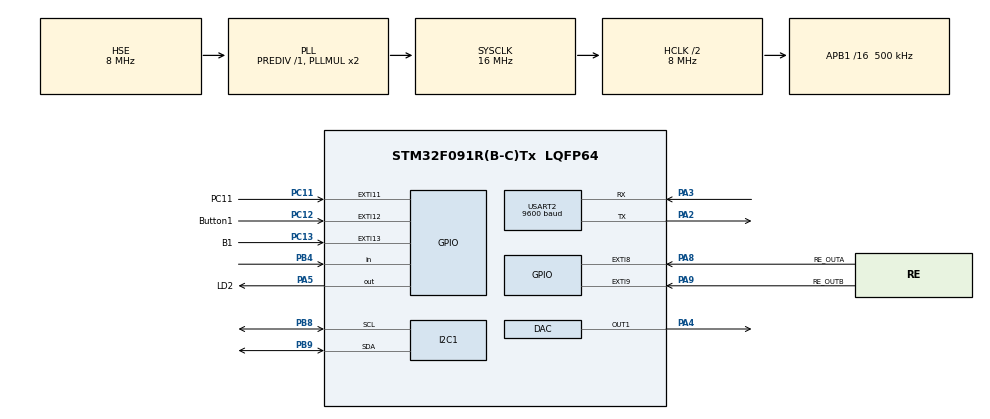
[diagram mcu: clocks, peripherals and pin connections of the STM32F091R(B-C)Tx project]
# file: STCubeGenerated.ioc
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Mcu.Family=STM32F0
Mcu.Name=STM32F091R(B-C)Tx
Mcu.Package=LQFP64
NVIC.EXTI4_15_IRQn=true\:0\:0\:false\:false\:true\:true\:true
NVIC.RCC_CRS_IRQn=true\:0\:0\:false\:false\:true\:true\:false
NVIC.TIM16_IRQn=true\:0\:0\:false\:false\:true\:true\:true
NVIC.USART2_IRQn=true\:0\:0\:false\:false\:true\:true\:true
PA2.Mode=Asynchronous
PA2.Signal=USART2_TX
PA3.Mode=Asynchronous
PA3.Signal=USART2_RX
PA4.Signal=COMP_DAC1_group
PA5.GPIO_Label=LD2
PA5.Signal=GPIO_Output
PA8.GPIO_Label=RE_OUTA
PA8.Signal=GPXTI8
PA9.GPIO_Label=RE_OUTB
PA9.Signal=GPXTI9
PB4.Signal=GPIO_Input
PB8.Mode=I2C
PB8.Signal=I2C1_SCL
PB9.Mode=I2C
PB9.Signal=I2C1_SDA
PC11.GPIO_Label=PC11
PC11.Signal=GPXTI11
PC12.GPIO_Label=Button1
PC12.GPIO_PuPd=GPIO_PULLUP
PC12.Signal=GPXTI12
PC13.GPIO_Label=B1
PC13.Signal=GPXTI13
PF0-OSC_IN.Mode=HSE-External-Oscillator
PF0-OSC_IN.Signal=RCC_OSC_IN
PF1-OSC_OUT.Mode=HSE-External-Oscillator
PF1-OSC_OUT.Signal=RCC_OSC_OUT
ProjectManager.HeapSize=0x200
ProjectManager.StackSize=0x400
ProjectManager.TargetToolchain=MDK-ARM V5.27
RCC.AHBCLKDivider=RCC_SYSCLK_DIV2
RCC.AHBFreq_Value=8000000
RCC.APB1CLKDivider=RCC_HCLK_DIV16
RCC.APB1Freq_Value=500000
RCC.APB1TimFreq_Value=1000000
RCC.HCLKFreq_Value=8000000
RCC.PLLSourceVirtual=RCC_PLLSOURCE_HSE
RCC.SYSCLKFreq_VALUE=16000000
RCC.SYSCLKSource=RCC_SYSCLKSOURCE_PLLCLK
RCC.Usart2ClockSelection=RCC_USART2CLKSOURCE_HSI
SH.COMP_DAC1_group.0=DAC_OUT1,DAC_OUT1
TIM16.Period=50000- 1
TIM16.Prescaler=10000 - 1
USART2.BaudRate=9600
USART2.VirtualMode-Asynchronous=VM_ASYNC
VP_TIM16_VS_ClockSourceINT.Mode=Enable_Timer
board=custom

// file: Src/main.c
/* USER CODE BEGIN Header */
/**
  ******************************************************************************
  * @file           : main.c
  * @brief          : Main program body
  ******************************************************************************
  * @attention
  *
  * <h2><center>&copy; Copyright (c) 2021 STMicroelectronics.
  * All rights reserved.</center></h2>
  *
  * This software component is licensed by ST under BSD 3-Clause license,
  * the "License"; You may not use this file except in compliance with the
  * License. You may obtain a copy of the License at:
  *                        opensource.org/licenses/BSD-3-Clause
  *
  ******************************************************************************
  */
/* USER CODE END Header */
#include "main.h"

/* USER CODE BEGIN Includes */
#include <stdio.h>
#include <stdbool.h>
#include <string.h>
#include "i2c-lcd.h"
#include "i2c-lcd.c"
/* USER CODE END Includes */

DAC_HandleTypeDef hdac;

I2C_HandleTypeDef hi2c1;

TIM_HandleTypeDef htim16;

UART_HandleTypeDef huart2;

/* USER CODE BEGIN PV */
	//uart variablen voor debug op seriele poort
  char uart_buf[50];
	int uart_buf_len;
	uint8_t UART2_rxBuffer[16] = {0};
	UART_HandleTypeDef huart2;
	char received_consumer_value[8] = {0};
	char received_pulses_value[8] = {0};
	//TIMER16	Variable
	uint16_t timer_val;

	//variablen voor pulsmeting
	volatile uint32_t ticks = 0;
	volatile uint32_t LastPulse = 0, TijdTussenPulsen = 0, CurrentPulse = 0;
	bool new_pulse = false;

	//In te stellen waarde van verbruiker voor overige productie
	int DAC_Voltage_Out_value;
	int DAC_Max_Voltage_Out_value = 4095;
	int waarde_apparaat = 2000;
	float send_percent;

	float Gemeten_KWh = 0.0;
	float Pulsen_Per_KWH = 1000;

	//variablen voor menu
	char screen = 0;
	char arrowpos = 0;
	char arrowpos_sensor = 0;
	int counter = 0;
	volatile bool Instellingen = false;
	volatile bool TurnDetected = false;
	volatile bool Up = false;
	volatile bool Button = false;
	int selected_sensor;

	volatile bool Programma_start = false;

	//variable om de gemeten waarden te resetten als er geen puls meer komt.
	uint8_t pulsen_counter = 0;

/* USER CODE END PV */

void SystemClock_Config(void);
static void MX_GPIO_Init(void);
static void MX_USART2_UART_Init(void);
static void MX_I2C1_Init(void);
static void MX_TIM16_Init(void);
static void MX_DAC_Init(void);
/* USER CODE BEGIN PFP */
static void screen0(void);
static void screen1(void);
static void screen2(void);
static void screen3(void);
static void screen4(void);
static void screen5(void);
static void screen6(void);
static void screen7(void);
static void Notify_by_startup(void);
static void Berekenen_KWH_Waarden(void);
static void Aansturen_DAC(float kwh);

unsigned char Arrow_L[]= {
	0x00,
  0x04,
  0x06,
  0x1F,
  0x1F,
  0x06,
  0x04,
  0x00
};

unsigned char Selector[]= {
  0x02,
  0x06,
  0x0E,
  0x1E,
  0x1E,
  0x0E,
  0x06,
  0x02
};

/* USER CODE END PFP */

int main(void)
{

  /* MCU Configuration--------------------------------------------------------*/

  /* Reset of all peripherals, Initializes the Flash interface and the Systick. */
  HAL_Init();

  /* Configure the system clock */
  SystemClock_Config();

  /* Initialize all configured peripherals */
  MX_GPIO_Init();
  MX_USART2_UART_Init();
  MX_I2C1_Init();
  MX_TIM16_Init();
  MX_DAC_Init();
  /* USER CODE BEGIN 2 */

		//LCD INIT
		HAL_Delay(500);
		lcd_init ();
		CreateCustomCharacter(Arrow_L,1);
		CreateCustomCharacter(Selector,2);

		/*HAL_Delay(500);
		lcd_put_cur(0,0);
		lcd_send_data(2);
		lcd_send_data(3);
		lcd_send_data(4);
		lcd_send_string(" Project");
		lcd_put_cur(1,0);
		lcd_send_data(5);
		lcd_send_data(6);
		lcd_send_data(7);
		lcd_send_string(" Zonnestroom");
		HAL_Delay(5000);*/
		lcd_clear();
		screen0();
		lcd_put_cur(0,0);
		lcd_send_data(1);
		HAL_Delay(500);

		//Start timer
		//clock = 48MHZ Prescaler = 4800 -1 => 10Khz = 1 tick per 0.0001 sec = 100us
		//clock = 1MHZ Prescaler = 10000 -1 => 100Hz = 1 tick per 0.001 sec = 10ms
		HAL_TIM_Base_Start_IT(&htim16);

		//start DAC
		HAL_DAC_Start(&hdac, DAC_CHANNEL_1);

		//UART inturrupt
		HAL_UART_Receive_IT (&huart2, UART2_rxBuffer, 16);
  /* USER CODE END 2 */

  /* Infinite loop */
  /* USER CODE BEGIN WHILE */
  while (1)
  {
		/* read PB4 = de toggle swicth */
		if(HAL_GPIO_ReadPin(GPIOB, GPIO_PIN_4))
		{
			//start meten van kWh en aanturen DAC
			Programma_start = true;
		}else{
			//stop meten van kWh en aanturen DAC
			Programma_start = false;
			HAL_DAC_SetValue(&hdac, DAC_CHANNEL_1, DAC_ALIGN_12B_R, 0);
			if (screen == 1){
				lcd_put_cur(0,6);
				lcd_send_string("       ");
				lcd_put_cur(1,7);
				lcd_send_string("    ");

			}
		}
		// lus die overlopen wordt als het programma gestart is
		if(Programma_start == true){
			if(new_pulse == true){
				Berekenen_KWH_Waarden();
				Aansturen_DAC(Gemeten_KWh);
				char prod[10];
				char outp[10];
				sprintf(prod, "%2.2f", Gemeten_KWh);
				sprintf(outp, "%.0f", send_percent*100);
				if(screen == 1){
					lcd_put_cur(0,6);
					lcd_send_string("       ");
					lcd_put_cur(0,6);
					lcd_send_string(prod);
					lcd_put_cur(1,7);
					lcd_send_string("    ");
					lcd_put_cur(1,7);
					lcd_send_string(outp);
				}
				new_pulse = false;
				pulsen_counter ++;
			}
		}
		// als er op de knop van de rotary encoder gedrukt wordt. Deze knop dient als enter
		if(Button == true){
			HAL_Delay(200);
			switch (screen){
				//Als je op de homescreen bent
				case 0:
					//waneer er op Settings wordt geklikt
					if(arrowpos == 0){
						screen = 2;
						screen2();
						lcd_put_cur(0,0);
						lcd_send_data(1);
						arrowpos = 0;
					}
					//waneer er op kWh measeurement wordt geklikt
					else{
						screen = 1;
						screen1();
						char prod[10];
						char outp[10];
						sprintf(prod, "%2.2f", Gemeten_KWh);
						sprintf(outp, "%.0f", send_percent*100);
						lcd_put_cur(0,6);
						lcd_send_string("       ");
						lcd_put_cur(0,6);
						lcd_send_string(prod);
						lcd_put_cur(1,7);
						lcd_send_string("    ");
						lcd_put_cur(1,7);
						lcd_send_string(outp);
					}
					break;
				//als je op de mesurement screen bent
				case 1:
						screen = 0;
						screen0();
						arrowpos = 0;
						lcd_put_cur(0,0);
						lcd_send_data(1);
				break;
				//als je op de settingsscreen bent
				case 2:
					switch(arrowpos){
						//instellen pulsen per kilowattuur
						case 0:
							screen = 3;
							screen3();
							arrowpos = 0;
						break;
						//instellen Verbruiker
						case 1:
							screen = 4;
							screen4();
							arrowpos = 1;
						break;
						//kiezen van sensor
						case 2:
							screen = 6;
							screen6();
							lcd_put_cur(0,0);
							lcd_send_data(1);
							arrowpos = 2;
							arrowpos_sensor = 0;
						break;
						//back
						case 3:
							screen = 0;
							screen0();
							arrowpos = 0;
							lcd_put_cur(0,0);
							lcd_send_data(1);
						break;
					}
				break;
				// als je op het scherm bent om de Pulsen per kWh in te stellen
				case 3:
					screen = 2;
					screen2();
					lcd_put_cur(0,0);
					lcd_send_data(1);
				break;
				// als je op het scherm bent om de Verbruiker in te stellen
				case 4:
					screen = 2;
					screen2();
					lcd_put_cur(1,0);
					lcd_send_data(1);
				break;
				//als je op de sensor settingsscreen bent
				case 6:
					switch(arrowpos_sensor){
						//Kies sensor 1
						case 0:
							selected_sensor = 1;
							printf("S: %i\n", selected_sensor);
							screen6();
							lcd_put_cur(0,0);
							lcd_send_data(1);
						break;
						//Kies sensor 2
						case 1:
							selected_sensor = 2;
							printf("S: %i\n", selected_sensor);
							screen6();
							lcd_put_cur(1,0);
							lcd_send_data(1);
						break;
						//Kies sensor 3
						case 2:
							selected_sensor = 3;
							printf("S: %i\n", selected_sensor);
							screen7();
							lcd_put_cur(0,0);
							lcd_send_data(1);
						break;
						//back to settingscreen
						case 3:
							screen = 2;
							screen5();
							arrowpos = 2;
							lcd_put_cur(0,0);
							lcd_send_data(1);
						break;
					}
				break;
			}
			Button = false;
		}
		//Als er aan de knop van de rotary encoder gedraaid wordt. Hiermee kun je omhoog of omlaag gaan.
		if(TurnDetected == true){
			HAL_Delay(200);
			switch(screen){
				//if homecreen
				case 0:
					switch (arrowpos){
						//positie om naar settings te gaan
						case 0:
							if(!Up){
								screen0();
								lcd_put_cur(1,0);
								lcd_send_data(1);
								arrowpos = 1;
							}
							break;
						//positie om naar kWh leasurement te gaan
						case 1:
							if(Up){
								screen0();
								lcd_put_cur(0,0);
								lcd_send_data(1);
								arrowpos = 0;
							}
							break;
					}
				break;
				//if settingsscreen
				case 2:
					//positie om naar Pulsen per kWh te gaan
					switch (arrowpos){
						case 0:
							if(!Up){
								screen2();
								lcd_put_cur(1,0);
								lcd_send_data(1);
								arrowpos = 1;
							}
							break;
						//positie om naar Verbruiker te gaan
						case 1:
							if(Up){
								screen2();
								lcd_put_cur(0,0);
								lcd_send_data(1);
								arrowpos = 0;
							}else{
								screen5();
								lcd_put_cur(0,0);
								lcd_send_data(1);
								arrowpos = 2;
							}
						break;
						//positie om naar Sensor settings te gaan
						case 2:
							if(Up){
								screen2();
								lcd_put_cur(1,0);
								lcd_send_data(1);
								arrowpos = 1;
							}else{
								screen5();
								lcd_put_cur(1,0);
								lcd_send_data(1);
								arrowpos = 3;
							}
						break;
						//positie om naar Terug te gaan te gaan
						case 3:
							if(Up){
								screen5();
								lcd_put_cur(0,0);
								lcd_send_data(1);
								arrowpos = 2;
							}
						break;
					}
					break;
					//if settingsscreen Pulsen per kWh
					case 3:
						if(Up){
							Pulsen_Per_KWH = Pulsen_Per_KWH + 100;
							char pulsen[10];
							sprintf(pulsen, "%.f",Pulsen_Per_KWH);
							lcd_put_cur(1,1);
							lcd_send_string("         ");
							lcd_put_cur(1,1);
							lcd_send_string(pulsen);
							printf("P: %i\n", (int)Pulsen_Per_KWH);

						}else{
							Pulsen_Per_KWH = Pulsen_Per_KWH - 100;
							if(Pulsen_Per_KWH < 100){
								Pulsen_Per_KWH = 0;
							}
							char pulsen[10];
							sprintf(pulsen, "%.f",Pulsen_Per_KWH);
							lcd_put_cur(1,1);
							lcd_send_string("         ");
							lcd_put_cur(1,1);
							lcd_send_string(pulsen);
							printf("P: %i\n", (int)Pulsen_Per_KWH);
						}
					break;
					//if settingsscreen Verbuiker
					case 4:
						if(Up){
							waarde_apparaat = waarde_apparaat + 100;
							char consumer[10];
							sprintf(consumer, "%0.i",waarde_apparaat);
							lcd_put_cur(1,1);
							lcd_send_string("         ");
							lcd_put_cur(1,1);
							lcd_send_string(consumer);
							printf("C: %i\n", waarde_apparaat);

						}else{
							waarde_apparaat = waarde_apparaat - 100;
							if(waarde_apparaat < 100){
								waarde_apparaat = 0;
							}
							char consumer[10];
							sprintf(consumer, "%0.i",waarde_apparaat);
							lcd_put_cur(1,1);
							lcd_send_string("         ");
							lcd_put_cur(1,1);
							lcd_send_string(consumer);
							printf("C: %i\n", waarde_apparaat);
						}
					break;
					// als je op het scherm bent om senor te kiezen
					case 6:
					//positie om naar Pulsen per kWh te gaan
					switch (arrowpos_sensor){
						//positie om Sensor1 te kiezen
						case 0:
							if(!Up){
								screen6();
								lcd_put_cur(1,0);
								lcd_send_data(1);
								arrowpos_sensor = 1;
							}
							break;
						//positie om Sensor2 te kiezen
						case 1:
							if(Up){
								screen6();
								lcd_put_cur(0,0);
								lcd_send_data(1);
								arrowpos_sensor = 0;
							}else{
								screen7();
								lcd_put_cur(0,0);
								lcd_send_data(1);
								arrowpos_sensor = 2;
							}
						break;
						//positie om Sensor3 te kiezen
						case 2:
							if(Up){
								screen6();
								lcd_put_cur(1,0);
								lcd_send_data(1);
								arrowpos_sensor = 1;
							}else{
								screen7();
								lcd_put_cur(1,0);
								lcd_send_data(1);
								arrowpos_sensor = 3;
							}
						break;
						//positie om naar Terug te gaan
						case 3:
							if(Up){
								screen7();
								lcd_put_cur(0,0);
								lcd_send_data(1);
								arrowpos_sensor = 2;
							}
						break;
					}
					break;
			}
			TurnDetected = false;
		}
	}
    /* USER CODE END WHILE */

}

void SystemClock_Config(void)
{
  RCC_OscInitTypeDef RCC_OscInitStruct = {0};
  RCC_ClkInitTypeDef RCC_ClkInitStruct = {0};
  RCC_PeriphCLKInitTypeDef PeriphClkInit = {0};

  /** Initializes the RCC Oscillators according to the specified parameters
  * in the RCC_OscInitTypeDef structure.
  */
  RCC_OscInitStruct.OscillatorType = RCC_OSCILLATORTYPE_HSI|RCC_OSCILLATORTYPE_HSE;
  RCC_OscInitStruct.HSEState = RCC_HSE_ON;
  RCC_OscInitStruct.HSIState = RCC_HSI_ON;
  RCC_OscInitStruct.HSICalibrationValue = RCC_HSICALIBRATION_DEFAULT;
  RCC_OscInitStruct.PLL.PLLState = RCC_PLL_ON;
  RCC_OscInitStruct.PLL.PLLSource = RCC_PLLSOURCE_HSE;
  RCC_OscInitStruct.PLL.PLLMUL = RCC_PLL_MUL2;
  RCC_OscInitStruct.PLL.PREDIV = RCC_PREDIV_DIV1;
  if (HAL_RCC_OscConfig(&RCC_OscInitStruct) != HAL_OK)
  {
    Error_Handler();
  }
  /** Initializes the CPU, AHB and APB buses clocks
  */
  RCC_ClkInitStruct.ClockType = RCC_CLOCKTYPE_HCLK|RCC_CLOCKTYPE_SYSCLK
                              |RCC_CLOCKTYPE_PCLK1;
  RCC_ClkInitStruct.SYSCLKSource = RCC_SYSCLKSOURCE_PLLCLK;
  RCC_ClkInitStruct.AHBCLKDivider = RCC_SYSCLK_DIV2;
  RCC_ClkInitStruct.APB1CLKDivider = RCC_HCLK_DIV16;

  if (HAL_RCC_ClockConfig(&RCC_ClkInitStruct, FLASH_LATENCY_0) != HAL_OK)
  {
    Error_Handler();
  }
  PeriphClkInit.PeriphClockSelection = RCC_PERIPHCLK_USART2|RCC_PERIPHCLK_I2C1;
  PeriphClkInit.Usart2ClockSelection = RCC_USART2CLKSOURCE_HSI;
  PeriphClkInit.I2c1ClockSelection = RCC_I2C1CLKSOURCE_HSI;
  if (HAL_RCCEx_PeriphCLKConfig(&PeriphClkInit) != HAL_OK)
  {
    Error_Handler();
  }
}

static void MX_DAC_Init(void)
{

  DAC_ChannelConfTypeDef sConfig = {0};

  /** DAC Initialization
  */
  hdac.Instance = DAC;
  if (HAL_DAC_Init(&hdac) != HAL_OK)
  {
    Error_Handler();
  }
  /** DAC channel OUT1 config
  */
  sConfig.DAC_Trigger = DAC_TRIGGER_NONE;
  sConfig.DAC_OutputBuffer = DAC_OUTPUTBUFFER_ENABLE;
  if (HAL_DAC_ConfigChannel(&hdac, &sConfig, DAC_CHANNEL_1) != HAL_OK)
  {
    Error_Handler();
  }

}

static void MX_I2C1_Init(void)
{

  hi2c1.Instance = I2C1;
  hi2c1.Init.Timing = 0x2000090E;
  hi2c1.Init.OwnAddress1 = 0;
  hi2c1.Init.AddressingMode = I2C_ADDRESSINGMODE_7BIT;
  hi2c1.Init.DualAddressMode = I2C_DUALADDRESS_DISABLE;
  hi2c1.Init.OwnAddress2 = 0;
  hi2c1.Init.OwnAddress2Masks = I2C_OA2_NOMASK;
  hi2c1.Init.GeneralCallMode = I2C_GENERALCALL_DISABLE;
  hi2c1.Init.NoStretchMode = I2C_NOSTRETCH_DISABLE;
  if (HAL_I2C_Init(&hi2c1) != HAL_OK)
  {
    Error_Handler();
  }
  /** Configure Analogue filter
  */
  if (HAL_I2CEx_ConfigAnalogFilter(&hi2c1, I2C_ANALOGFILTER_ENABLE) != HAL_OK)
  {
    Error_Handler();
  }
  /** Configure Digital filter
  */
  if (HAL_I2CEx_ConfigDigitalFilter(&hi2c1, 0) != HAL_OK)
  {
    Error_Handler();
  }

}

static void MX_TIM16_Init(void)
{

  htim16.Instance = TIM16;
  htim16.Init.Prescaler = 10000 - 1;
  htim16.Init.CounterMode = TIM_COUNTERMODE_UP;
  htim16.Init.Period = 50000- 1;
  htim16.Init.ClockDivision = TIM_CLOCKDIVISION_DIV1;
  htim16.Init.RepetitionCounter = 0;
  htim16.Init.AutoReloadPreload = TIM_AUTORELOAD_PRELOAD_DISABLE;
  if (HAL_TIM_Base_Init(&htim16) != HAL_OK)
  {
    Error_Handler();
  }

}

static void MX_USART2_UART_Init(void)
{

  huart2.Instance = USART2;
  huart2.Init.BaudRate = 9600;
  huart2.Init.WordLength = UART_WORDLENGTH_8B;
  huart2.Init.StopBits = UART_STOPBITS_1;
  huart2.Init.Parity = UART_PARITY_NONE;
  huart2.Init.Mode = UART_MODE_TX_RX;
  huart2.Init.HwFlowCtl = UART_HWCONTROL_NONE;
  huart2.Init.OverSampling = UART_OVERSAMPLING_16;
  huart2.Init.OneBitSampling = UART_ONE_BIT_SAMPLE_DISABLE;
  huart2.AdvancedInit.AdvFeatureInit = UART_ADVFEATURE_NO_INIT;
  if (HAL_UART_Init(&huart2) != HAL_OK)
  {
    Error_Handler();
  }

}

static void MX_GPIO_Init(void)
{
  GPIO_InitTypeDef GPIO_InitStruct = {0};

  /* GPIO Ports Clock Enable */
  __HAL_RCC_GPIOC_CLK_ENABLE();
  __HAL_RCC_GPIOF_CLK_ENABLE();
  __HAL_RCC_GPIOA_CLK_ENABLE();
  __HAL_RCC_GPIOB_CLK_ENABLE();

  /*Configure GPIO pin Output Level */
  HAL_GPIO_WritePin(LD2_GPIO_Port, LD2_Pin, GPIO_PIN_RESET);

  /*Configure GPIO pins : B1_Pin PC11_Pin */
  GPIO_InitStruct.Pin = B1_Pin|PC11_Pin;
  GPIO_InitStruct.Mode = GPIO_MODE_IT_RISING;
  GPIO_InitStruct.Pull = GPIO_NOPULL;
  HAL_GPIO_Init(GPIOC, &GPIO_InitStruct);

  /*Configure GPIO pin : LD2_Pin */
  GPIO_InitStruct.Pin = LD2_Pin;
  GPIO_InitStruct.Mode = GPIO_MODE_OUTPUT_PP;
  GPIO_InitStruct.Pull = GPIO_NOPULL;
  GPIO_InitStruct.Speed = GPIO_SPEED_FREQ_LOW;
  HAL_GPIO_Init(LD2_GPIO_Port, &GPIO_InitStruct);

  /*Configure GPIO pins : RE_OUTA_Pin RE_OUTB_Pin */
  GPIO_InitStruct.Pin = RE_OUTA_Pin|RE_OUTB_Pin;
  GPIO_InitStruct.Mode = GPIO_MODE_IT_RISING;
  GPIO_InitStruct.Pull = GPIO_NOPULL;
  HAL_GPIO_Init(GPIOA, &GPIO_InitStruct);

  /*Configure GPIO pin : Button1_Pin */
  GPIO_InitStruct.Pin = Button1_Pin;
  GPIO_InitStruct.Mode = GPIO_MODE_IT_RISING;
  GPIO_InitStruct.Pull = GPIO_PULLUP;
  HAL_GPIO_Init(Button1_GPIO_Port, &GPIO_InitStruct);

  /*Configure GPIO pin : PB4 */
  GPIO_InitStruct.Pin = GPIO_PIN_4;
  GPIO_InitStruct.Mode = GPIO_MODE_INPUT;
  GPIO_InitStruct.Pull = GPIO_NOPULL;
  HAL_GPIO_Init(GPIOB, &GPIO_InitStruct);

  /* EXTI interrupt init*/
  HAL_NVIC_SetPriority(EXTI4_15_IRQn, 0, 0);
  HAL_NVIC_EnableIRQ(EXTI4_15_IRQn);

}

/* USER CODE BEGIN 4 */
void screen0(){
	lcd_clear();
	lcd_put_cur(0,1);
	lcd_send_string("Settings");
	lcd_put_cur(1,1);
	lcd_send_string("kWh measurement");
}
void screen1(){
	lcd_clear();
	lcd_put_cur(0,0);
	lcd_send_string("Value");
	lcd_put_cur(0,13);
	lcd_send_string("kWh");
	lcd_put_cur(1,0);
	lcd_send_string("Output");
	lcd_put_cur(1,13);
	lcd_send_string("%");
}
void screen2(){
	lcd_clear();
	lcd_put_cur(0,1);
	lcd_send_string("Pulses per KWH");
	lcd_put_cur(1,1);
	lcd_send_string("Consumer");
}

void screen3(){
	char pulsen[10];
	sprintf(pulsen, "%.f",Pulsen_Per_KWH);

	lcd_clear();
	lcd_put_cur(0,1);
	lcd_send_string("Pulses per KWH");
	lcd_put_cur(1,1);
	lcd_send_string(pulsen);
}
void screen4(){
	char consumer[10];
	sprintf(consumer, "%.i" ,waarde_apparaat);
	lcd_clear();
	lcd_put_cur(0,1);
	lcd_send_string("Consumer (W)");
	lcd_put_cur(1,1);
	lcd_send_string(consumer);
}
void screen5(){
	lcd_clear();
	lcd_put_cur(0,1);
	lcd_send_string("Sensor");
	lcd_put_cur(1,1);
	lcd_send_string("Back");
}
void screen6(){
	lcd_clear();
	lcd_put_cur(0,1);
	lcd_send_string("Sensor1");
	lcd_put_cur(1,1);
	lcd_send_string("Sensor2");
	if(selected_sensor == 1){
		lcd_put_cur(0,15);
		lcd_send_data(2);
	}
	if(selected_sensor == 2){
		lcd_put_cur(1,15);
		lcd_send_data(2);
	}
}
void screen7(){
	lcd_clear();
	lcd_put_cur(0,1);
	lcd_send_string("Sensor3");
	lcd_put_cur(1,1);
	lcd_send_string("Back");
	if(selected_sensor == 3){
		lcd_put_cur(0,15);
		lcd_send_data(2);
	}
}
void Notify_by_startup(){
		lcd_put_cur(0,0);
		lcd_send_string("Please look first to settings                            ");
		HAL_Delay(1000);
	lcd_put_cur(0,0);
		lcd_send_string("lease look first to settings                            ");
		HAL_Delay(200);
	lcd_put_cur(0,0);
		lcd_send_string("ease look first to settings                            ");
		HAL_Delay(200);
	lcd_put_cur(0,0);
		lcd_send_string("ase look first to settings                            ");
		HAL_Delay(200);
	lcd_put_cur(0,0);
		lcd_send_string("e look first to settings                            ");
		HAL_Delay(200);
	lcd_put_cur(0,0);
		lcd_send_string(" look first to settings                            ");
		HAL_Delay(200);
	lcd_put_cur(0,0);
		lcd_send_string("look first to settings                            ");
		HAL_Delay(200);
		lcd_put_cur(0,0);
		lcd_send_string("ook first to settings                            ");
		HAL_Delay(200);
		lcd_put_cur(0,0);
		lcd_send_string("ok first to settings                            ");
		HAL_Delay(200);
		lcd_put_cur(0,0);
		lcd_send_string("k first to settings                            ");
		HAL_Delay(200);
		lcd_put_cur(0,0);
		lcd_send_string(" first to settings                            ");
		HAL_Delay(200);
		lcd_put_cur(0,0);
		lcd_send_string("first to settings                            ");
		HAL_Delay(200);
		lcd_put_cur(0,0);
		lcd_send_string("irst to settings                            ");
		HAL_Delay(200);
		lcd_put_cur(0,0);
		lcd_send_string("rst to settings                            ");
		HAL_Delay(200);
		lcd_put_cur(0,0);
		lcd_send_string("st to settings                            ");
		HAL_Delay(200);
		lcd_put_cur(0,0);
		lcd_send_string("t to settings                            ");
		HAL_Delay(200);
		lcd_put_cur(0,0);
		lcd_send_string(" to settings                            ");
		HAL_Delay(200);
		lcd_put_cur(0,0);
		lcd_send_string("to settings                            ");
		HAL_Delay(2000);

}

//BESTUREN DAC
void Aansturen_DAC(float kwh){
		//bepalen hoeveel percent van de uitgang van de DAC mag aangestuurd worden.
		//*100 omdat waarde_apparaat voorlopig in W staat idpv KW
		send_percent = ((float)kwh*1000)/(float)waarde_apparaat;
		if(send_percent > 1){
			send_percent = 1;
		}
		DAC_Voltage_Out_value = DAC_Max_Voltage_Out_value*send_percent;

		//verander de value van de DAC
		if(send_percent>1){
			HAL_DAC_SetValue(&hdac, DAC_CHANNEL_1, DAC_ALIGN_12B_R, DAC_Max_Voltage_Out_value);
		}else{
			HAL_DAC_SetValue(&hdac, DAC_CHANNEL_1, DAC_ALIGN_12B_R, DAC_Voltage_Out_value);
		}
		//print naar de seriele poort
		//printf("The float value : %f\n", send_percent);
		printf("D: %.f\n", send_percent*100);
}

//Bereken waarde KWH meter
void Berekenen_KWH_Waarden(void){
		float waarde = 360000/Pulsen_Per_KWH;
		Gemeten_KWh = (float)waarde/TijdTussenPulsen;
		printf("K: %f\n", Gemeten_KWh);
		//printf("tijd tussen pulsen: %d\n", TijdTussenPulsen);
}

//UART
int fputc (int ch, FILE *f)
{
	HAL_UART_Transmit(&huart2,(uint8_t*)&ch,1,HAL_MAX_DELAY);
	return ch;
}

int fgetc(FILE *f)
{
	int ch = 0;
	HAL_UART_Receive(&huart2,(uint8_t*)&ch,1,HAL_MAX_DELAY);
	return		ch;
}

//Externe interrputs
void HAL_GPIO_EXTI_Callback( uint16_t GPIO_Pin)
{
	//Interrupt Button 1 button
	if(GPIO_Pin == Button1_Pin){
		 Button = true;
	}
	if(GPIO_Pin == RE_OUTA_Pin){
		 TurnDetected = true;
		 //Up = (HAL_GPIO_ReadPin(RE_OUTA_GPIO_Port,RE_OUTA_Pin) == HAL_GPIO_ReadPin(RE_OUTB_GPIO_Port,RE_OUTB_Pin));
		if(HAL_GPIO_ReadPin(RE_OUTB_GPIO_Port,RE_OUTB_Pin)){
			Up = HAL_GPIO_ReadPin(RE_OUTA_GPIO_Port,RE_OUTA_Pin);
		}else{
			Up = !HAL_GPIO_ReadPin(RE_OUTA_GPIO_Port,RE_OUTA_Pin);
		}
	}

	//Interrupt op externe pin PC11 meten van Kwh
	if(GPIO_Pin == PC11_Pin){

		HAL_GPIO_TogglePin(LD2_GPIO_Port, LD2_Pin);

		ticks = __HAL_TIM_GET_COUNTER(&htim16);

		// Sla het huidige 'uur' op.
		CurrentPulse = ticks;
		TijdTussenPulsen =   CurrentPulse - LastPulse ;
		LastPulse = CurrentPulse;

		new_pulse = true;

	}

}

void HAL_UART_RxCpltCallback(UART_HandleTypeDef *huart)
{
   // HAL_UART_Transmit(&huart2, UART2_rxBuffer, 8, 100);
    HAL_UART_Receive_IT(&huart2, UART2_rxBuffer, 16);
		//als er c wordt ontvanfen (ACII code) lees dan de waarden en verwerk ze
		if(UART2_rxBuffer[0] == 99){
			/*lcd_clear();
			lcd_put_cur(0,0);
			lcd_send_string((char*)UART2_rxBuffer);*/
			int i = 0;
			int index1 = 0;
			int index2 = 0;
			for(i=0; i<16 ; i++){
				if(0<i && i<8){
					if(UART2_rxBuffer[i] !=63){
					received_consumer_value[index1] = UART2_rxBuffer[i];
					index1++;

				}
			}
				else if(i>9){
					if(UART2_rxBuffer[i] !=63){
					received_pulses_value[index2] = UART2_rxBuffer[i];
					index2++;
					}
				}
			}
			int received_consumer;
			sscanf(received_consumer_value, "%d", &received_consumer);
			waarde_apparaat = received_consumer;
			int received_pulses;
			sscanf(received_pulses_value, "%d", &received_pulses);
			Pulsen_Per_KWH = received_pulses;
			/*char outp[10];
			sprintf(outp, "%d", received_consumer);
			lcd_put_cur(1,0);
			lcd_send_string(outp);
			lcd_put_cur(1,8);
			lcd_send_string((char*)received_pulses_value);*/
		}
		//als er Q wordt ontvangen (ACII code) stuur dan de values van pulsen en waarde apparaat door.
		if(UART2_rxBuffer[0] == 81){
			printf("P:%i\n", (int)Pulsen_Per_KWH);
			printf("C:%i\n", waarde_apparaat);
			printf("S:%i\n", selected_sensor);
		}
}

//timer 16 interrupt
void HAL_TIM_PeriodElapsedCallback(TIM_HandleTypeDef *htim)
{
	if (htim == &htim16){
		if(pulsen_counter < 1 && Programma_start == true){
				Gemeten_KWh = 0;
				Berekenen_KWH_Waarden();
				Aansturen_DAC(Gemeten_KWh);
				printf("K: %f\n", Gemeten_KWh);
				if (screen == 1){
					lcd_put_cur(0,6);
					lcd_send_string("       ");
					lcd_put_cur(0,6);
					lcd_send_data(48);
					lcd_put_cur(1,7);
					lcd_send_string("    ");
					lcd_put_cur(1,7);
					lcd_send_data(48);
				}
		}
		pulsen_counter = 0;
	}
}
/* USER CODE END 4 */

void Error_Handler(void)
{
  __disable_irq();
  while (1)
  {
  }
}

/************************ (C) COPYRIGHT STMicroelectronics *****END OF FILE****/
